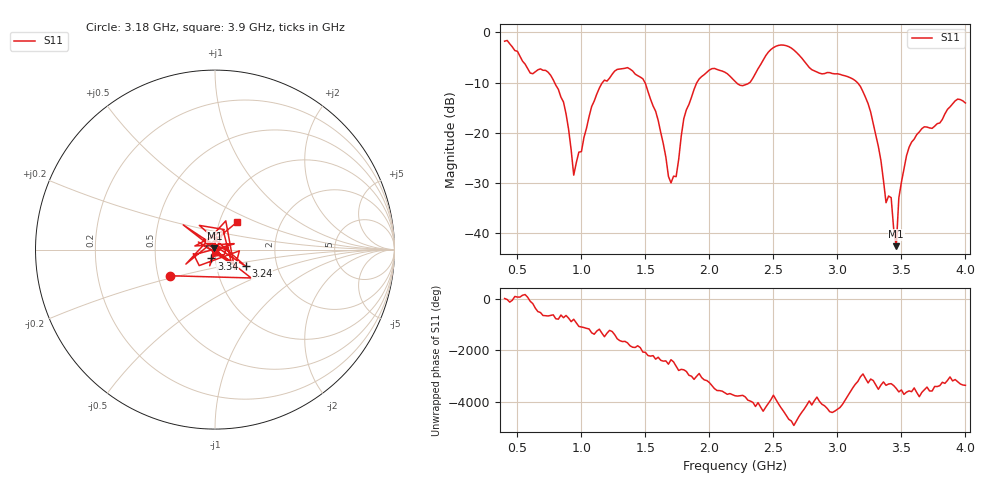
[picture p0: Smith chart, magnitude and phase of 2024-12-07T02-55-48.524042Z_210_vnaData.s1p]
!Created with skrf (http://scikit-rf.org).
# Hz S RI R 50.0
!freq ReS11 ImS11
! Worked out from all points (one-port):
!   181 points, 400 MHz to 4 GHz, reference 50 ohm
!   lowest |S11| = -42.5 dB at 3.46 GHz (marker M1), VSWR 1.02, Z = 49.7 + j0.666 ohm
!   |S11| at or under -10 dB: 790 MHz to 1.165 GHz (375 MHz wide, 38.4 % of centre); 1.496 GHz to 1.903 GHz (406.5 MHz wide, 23.9 % of centre); 3.155 GHz to end of sweep (the widest 3 of 4)
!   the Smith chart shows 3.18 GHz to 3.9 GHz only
!   S11 on the Smith chart (normalised r, x): 3.18 GHz: 0.58, -0.18; 3.24 GHz: 1.38, -0.27; 3.34 GHz: 0.96, -0.09; 3.9 GHz: 1.21, +0.38
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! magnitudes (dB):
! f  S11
! 400 MHz  -1.8
! 600 MHz  -8.1
! 740 MHz  -8.0
! 860 MHz  -13.9
! 940 MHz  -28.4
! 1.14 GHz  -11.1
! 1.3 GHz  -7.3
! 1.5 GHz  -10.2
! 1.6 GHz  -17.6
! 1.7 GHz  -30.0
! 1.76 GHz  -25.3
! 1.8 GHz  -17.2
! 1.92 GHz  -9.3
! 2.2 GHz  -9.8
! 2.32 GHz  -9.9
! 2.52 GHz  -2.8
! 2.66 GHz  -3.5
! 3.1 GHz  -9.0
! 3.18 GHz  -10.8
! 3.24 GHz  -14.2
! 3.34 GHz  -25.5
! 3.38 GHz  -33.9
! 3.42 GHz  -32.9
! 3.46 GHz  -42.5
! 3.48 GHz  -32.9
! 3.56 GHz  -22.9
! 3.9 GHz  -14.3
! 4 GHz  -14.1
